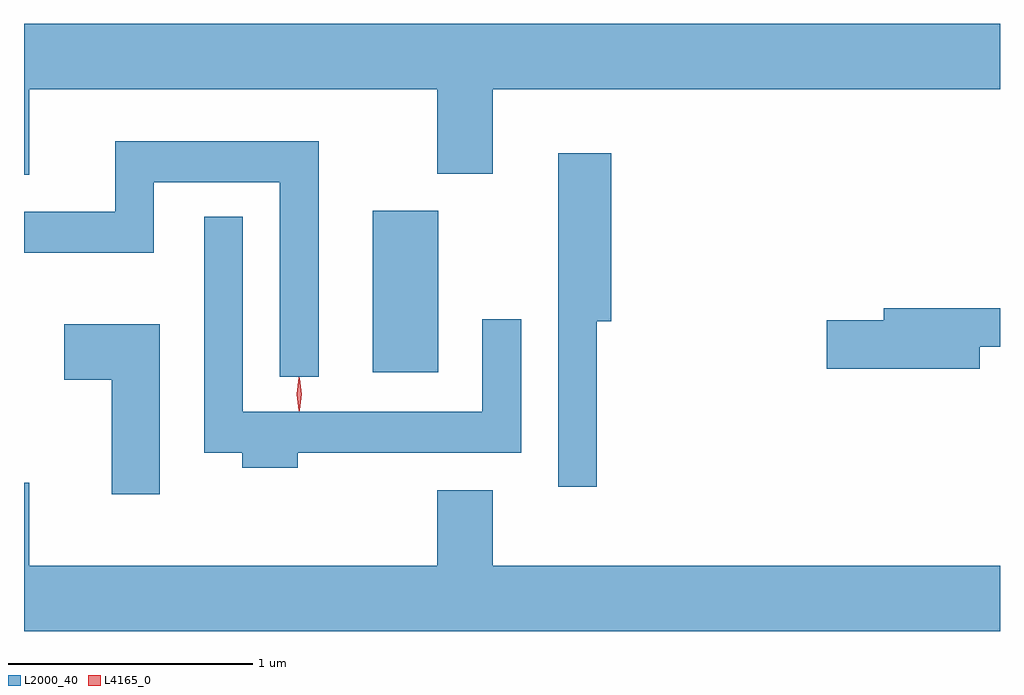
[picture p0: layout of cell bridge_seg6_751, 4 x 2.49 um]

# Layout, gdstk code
import gdstk
lib = gdstk.Library(unit=1e-6, precision=1e-09)
def R(c, l, rs):  # rectangles x0, y0, x1, y1
    for r in rs: c.add(gdstk.rectangle(r[:2], r[2:], *l))
def P(c, l, *ps):  # polygons
    for p in ps: c.add(gdstk.Polygon(p, *l))
L2000_40 = (2000, 40)
L4165_0 = (4165, 0)

bridge_seg6_751 = lib.new_cell('bridge_seg6_751')
R(bridge_seg6_751, L2000_40, [(502.376,1575.516,502.644,1576.179)])
P(bridge_seg6_751, L2000_40, [(500.969,1576.676),(502.641,1576.676),(502.641,1576.331),(502.869,1576.331),(502.869,1576.676),(504.947,1576.676),(504.947,1576.944),(500.947,1576.944),(500.947,1576.326),(500.969,1576.326)],
  [(502.154,1576.464),(501.321,1576.464),(501.321,1576.174),(500.947,1576.174),(500.947,1576.006),(501.479,1576.006),(501.479,1576.296),(501.996,1576.296),(501.996,1575.498),(502.154,1575.498)],
  [(503.294,1575.726),(503.354,1575.726),(503.354,1576.414),(503.136,1576.414),(503.136,1575.048),(503.294,1575.048)],
  [(502.069,1575.186),(502.984,1575.186),(502.984,1575.733),(502.826,1575.733),(502.826,1575.354),(501.844,1575.354),(501.844,1576.153),(501.686,1576.153),(501.686,1575.186),(501.841,1575.186),(501.841,1575.126),(502.069,1575.126)],
  [(504.864,1575.621),(504.947,1575.621),(504.947,1575.779),(504.471,1575.779),(504.471,1575.729),(504.236,1575.729),(504.236,1575.531),(504.864,1575.531)],
  [(501.504,1575.714),(501.111,1575.714),(501.111,1575.486),(501.306,1575.486),(501.306,1575.016),(501.504,1575.016)],
  [(504.947,1574.724),(502.869,1574.724),(502.869,1575.034),(502.641,1575.034),(502.641,1574.724),(500.969,1574.724),(500.969,1575.064),(500.947,1575.064),(500.947,1574.456),(504.947,1574.456)])
P(bridge_seg6_751, L4165_0, [(502.075,1575.357),(502.074,1575.358),(502.065,1575.427),(502.074,1575.496),(502.075,1575.496),(502.076,1575.496),(502.085,1575.426),(502.075,1575.358)],
  [(502.077,1575.359),(502.076,1575.36),(502.067,1575.426),(502.076,1575.492),(502.076,1575.493),(502.077,1575.492),(502.086,1575.426),(502.077,1575.36)])

lib.write_gds('bridge_seg6_751.gds')
